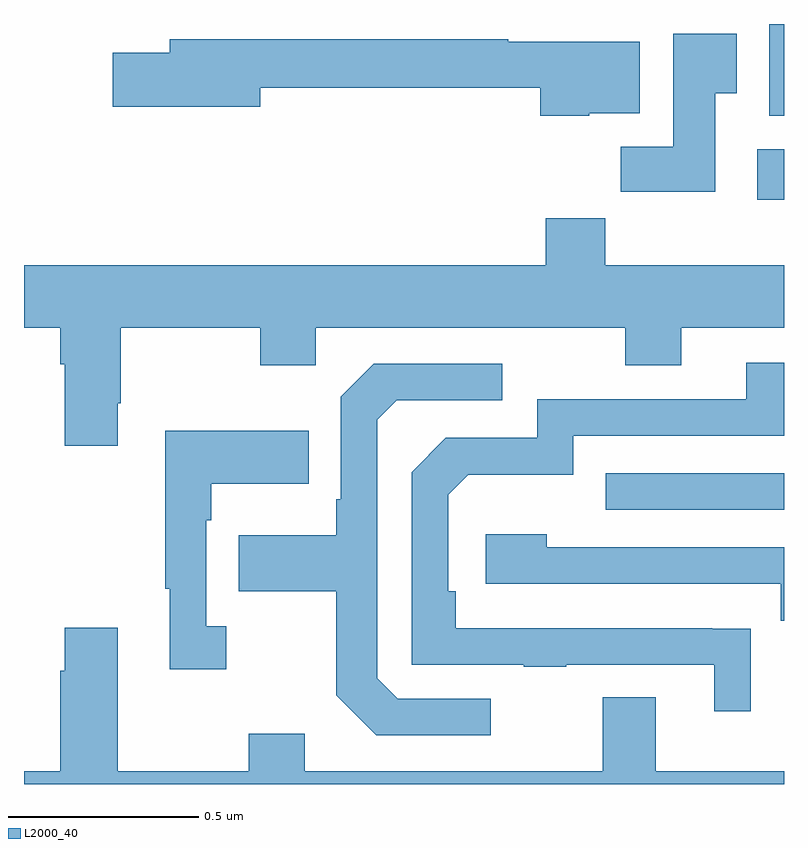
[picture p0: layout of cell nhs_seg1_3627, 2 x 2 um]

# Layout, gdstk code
import gdstk
lib = gdstk.Library(unit=1e-6, precision=1e-09)
def R(c, l, rs):  # rectangles x0, y0, x1, y1
    for r in rs: c.add(gdstk.rectangle(r[:2], r[2:], *l))
def P(c, l, *ps):  # polygons
    for p in ps: c.add(gdstk.Polygon(p, *l))
L2000_40 = (2000, 40)

nhs_seg1_3627 = lib.new_cell('nhs_seg1_3627')
R(nhs_seg1_3627, L2000_40, [(157.531,549.921,158,550.017), (157.929,550.736,158,550.87), (157.961,550.958,158,551.199)])
P(nhs_seg1_3627, L2000_40, [(157.819,551.017),(157.876,551.017),(157.876,551.173),(157.709,551.173),(157.709,550.876),(157.57,550.876),(157.57,550.758),(157.819,550.758)],
  [(157.488,550.964),(157.621,550.964),(157.621,551.152),(157.274,551.152),(157.274,551.159),(156.383,551.159),(156.383,551.123),(156.234,551.123),(156.234,550.981),(156.622,550.981),(156.622,551.031),(157.358,551.031),(157.358,550.958),(157.488,550.958)],
  [(156,550.4),(156.095,550.4),(156.095,550.304),(156.107,550.304),(156.107,550.089),(156.247,550.089),(156.247,550.201),(156.255,550.201),(156.255,550.4),(156.622,550.4),(156.622,550.301),(156.768,550.301),(156.768,550.4),(157.582,550.4),(157.582,550.301),(157.729,550.301),(157.729,550.4),(158,550.4),(158,550.564),(157.529,550.564),(157.529,550.688),(157.373,550.688),(157.373,550.564),(156,550.564)],
  [(157.913,549.608),(157.811,549.608),(157.811,549.609),(157.136,549.609),(157.136,549.706),(157.116,549.706),(157.116,549.96),(157.169,550.013),(157.446,550.013),(157.446,550.116),(158,550.116),(158,550.308),(157.901,550.308),(157.901,550.212),(157.35,550.212),(157.35,550.11),(157.11,550.11),(157.02,550.02),(157.02,549.513),(157.315,549.513),(157.315,549.508),(157.427,549.508),(157.427,549.513),(157.817,549.513),(157.817,549.39),(157.913,549.39)],
  [(157.228,549.423),(156.984,549.423),(156.93,549.477),(156.93,550.158),(156.981,550.209),(157.258,550.209),(157.258,550.305),(156.921,550.305),(156.834,550.218),(156.834,549.949),(156.822,549.949),(156.822,549.853),(156.565,549.853),(156.565,549.706),(156.822,549.706),(156.822,549.433),(156.927,549.327),(157.228,549.327)],
  [(156.532,549.614),(156.48,549.614),(156.48,549.893),(156.493,549.893),(156.493,549.989),(156.749,549.989),(156.749,550.129),(156.372,550.129),(156.372,549.713),(156.383,549.713),(156.383,549.501),(156.532,549.501)],
  [(158,549.822),(157.376,549.822),(157.376,549.856),(157.215,549.856),(157.215,549.726),(157.991,549.726),(157.991,549.629),(158,549.629)],
  [(158,549.232),(157.663,549.232),(157.663,549.427),(157.523,549.427),(157.523,549.232),(156.739,549.232),(156.739,549.331),(156.592,549.331),(156.592,549.232),(156.247,549.232),(156.247,549.61),(156.107,549.61),(156.107,549.497),(156.095,549.497),(156.095,549.232),(156,549.232),(156,549.199),(158,549.199)])

lib.write_gds('nhs_seg1_3627.gds')
